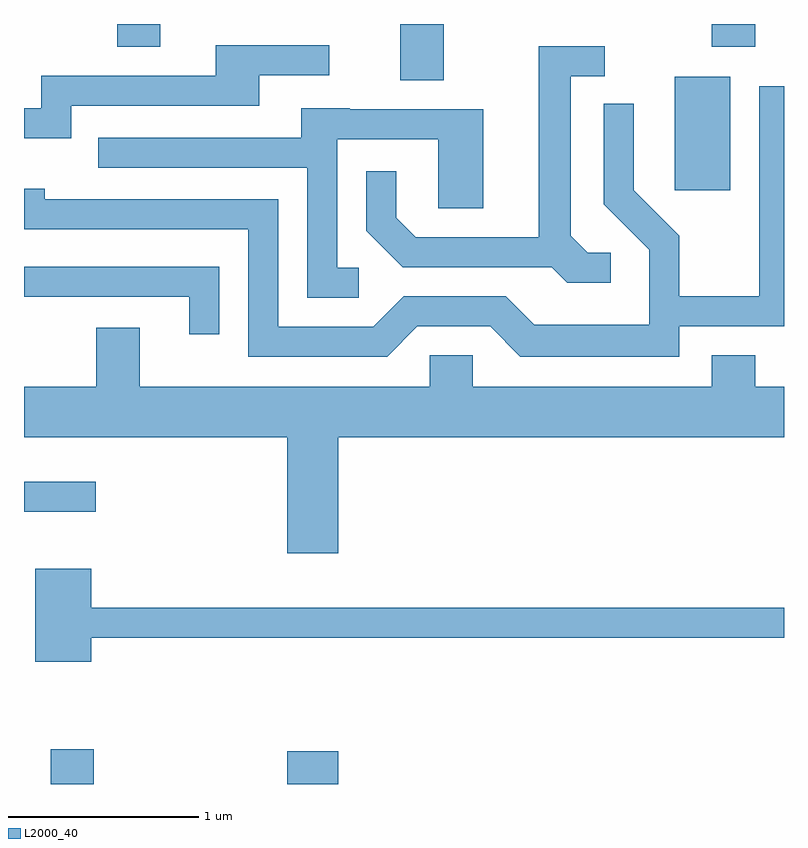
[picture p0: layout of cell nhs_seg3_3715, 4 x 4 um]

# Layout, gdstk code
import gdstk
lib = gdstk.Library(unit=1e-6, precision=1e-09)
def R(c, l, rs):  # rectangles x0, y0, x1, y1
    for r in rs: c.add(gdstk.rectangle(r[:2], r[2:], *l))
def P(c, l, *ps):  # polygons
    for p in ps: c.add(gdstk.Polygon(p, *l))
L2000_40 = (2000, 40)

nhs_seg3_3715 = lib.new_cell('nhs_seg3_3715')
R(nhs_seg3_3715, L2000_40, [(293.751,1201.892,293.979,1202.074), (294.996,1201.892,295.264,1202.064), (293.611,1203.326,293.988,1203.484), (297.036,1205.016,297.329,1205.614), (295.591,1205.596,295.819,1205.892), (294.101,1205.771,294.329,1205.892), (297.231,1205.771,297.459,1205.892)])
P(nhs_seg3_3715, L2000_40, [(293.859,1205.461),(294.849,1205.461),(294.849,1205.621),(295.218,1205.621),(295.218,1205.779),(294.621,1205.779),(294.621,1205.619),(293.701,1205.619),(293.701,1205.449),(293.611,1205.449),(293.611,1205.291),(293.859,1205.291)],
  [(296.698,1204.689),(296.577,1204.689),(296.489,1204.777),(296.489,1205.616),(296.668,1205.616),(296.668,1205.774),(296.321,1205.774),(296.321,1204.769),(295.672,1204.769),(295.569,1204.872),(295.569,1205.118),(295.411,1205.118),(295.411,1204.804),(295.604,1204.611),(296.389,1204.611),(296.469,1204.531),(296.698,1204.531)],
  [(295.682,1204.301),(296.064,1204.301),(296.224,1204.141),(297.059,1204.141),(297.059,1204.301),(297.611,1204.301),(297.611,1205.564),(297.481,1205.564),(297.481,1204.459),(297.059,1204.459),(297.059,1204.777),(296.819,1205.017),(296.819,1205.473),(296.661,1205.473),(296.661,1204.944),(296.901,1204.704),(296.901,1204.309),(296.297,1204.309),(296.147,1204.459),(295.609,1204.459),(295.449,1204.299),(294.949,1204.299),(294.949,1204.969),(293.719,1204.969),(293.719,1205.024),(293.611,1205.024),(293.611,1204.811),(294.791,1204.811),(294.791,1204.141),(295.522,1204.141)],
  [(295.373,1204.609),(295.259,1204.609),(295.259,1205.286),(295.791,1205.286),(295.791,1204.921),(296.029,1204.921),(296.029,1205.444),(295.325,1205.444),(295.325,1205.449),(295.071,1205.449),(295.071,1205.294),(294.003,1205.294),(294.003,1205.136),(295.101,1205.136),(295.101,1204.451),(295.373,1204.451)],
  [(294.639,1204.614),(293.611,1204.614),(293.611,1204.456),(294.481,1204.456),(294.481,1204.258),(294.639,1204.258)],
  [(295.264,1203.716),(297.611,1203.716),(297.611,1203.984),(297.459,1203.984),(297.459,1204.149),(297.231,1204.149),(297.231,1203.984),(295.974,1203.984),(295.974,1204.149),(295.746,1204.149),(295.746,1203.984),(294.219,1203.984),(294.219,1204.294),(293.991,1204.294),(293.991,1203.984),(293.611,1203.984),(293.611,1203.716),(294.996,1203.716),(294.996,1203.106),(295.264,1203.106)],
  [(293.964,1202.661),(297.611,1202.661),(297.611,1202.819),(293.964,1202.819),(293.964,1203.024),(293.671,1203.024),(293.671,1202.536),(293.964,1202.536)])

lib.write_gds('nhs_seg3_3715.gds')
